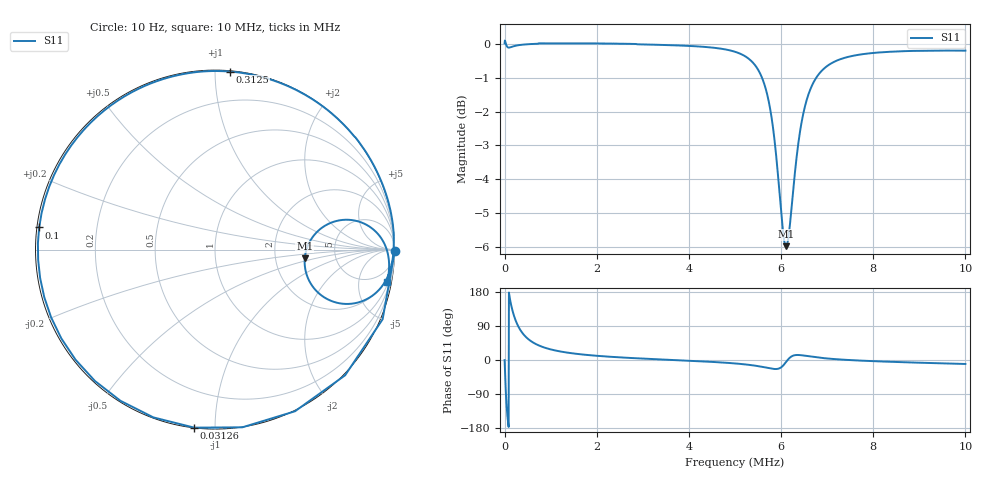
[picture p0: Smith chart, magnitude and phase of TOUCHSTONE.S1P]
!Keysight Technologies,E5061B,MY49912438,B.06.30
!Date: Thu Nov 06 22:04:14 2025
!Data & Calibration Information:
!Freq	S11:SOLT1(ON)
# Hz S dB R 50
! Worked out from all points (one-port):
!   1601 points, 10 Hz to 10 MHz, reference 50 ohm
!   lowest |S11| = -6.0 dB at 6.106 MHz (marker M1), VSWR 3.02, Z = 148 - j19 ohm
!   |S11| at or under -10 dB: nowhere
!   S11 on the Smith chart (normalised r, x): 10 Hz: open; 31.26 kHz: 0.00, -0.89; 100 kHz: 0.01, +0.06; 312.5 kHz: 0.00, +1.09; 10 MHz: 1, -11
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10  0.02 -0.4
31259.97  -0.01 -96.7
62509.94  -0.10 -150.0
81259.92  -0.11 -170.7
100009.9  -0.11 172.8
118759.9  -0.11 159.2
143759.9  -0.10 144.1
187509.8  -0.08 123.1
243759.8  -0.06 103.0
312509.7  -0.04 85.1
375009.6  -0.03 73.1
450009.5  -0.02 62.2
625009.4  -0.00 45.6
875009.1  0.01 32.4
1250009  0.01 21.6
2500008  0.00 7.0
3750006  -0.05 -0.5
5000005  -0.24 -9.1
5487505  -0.74 -15.9
5800004  -2.23 -23.0
5943754  -4.05 -22.8
6106254  -5.98 -5.5
6250004  -4.52 10.9
6412504  -2.58 12.9
6700003  -1.15 8.1
7500002  -0.37 -0.2
8750001  -0.21 -6.2
1e7  -0.20 -10.5
